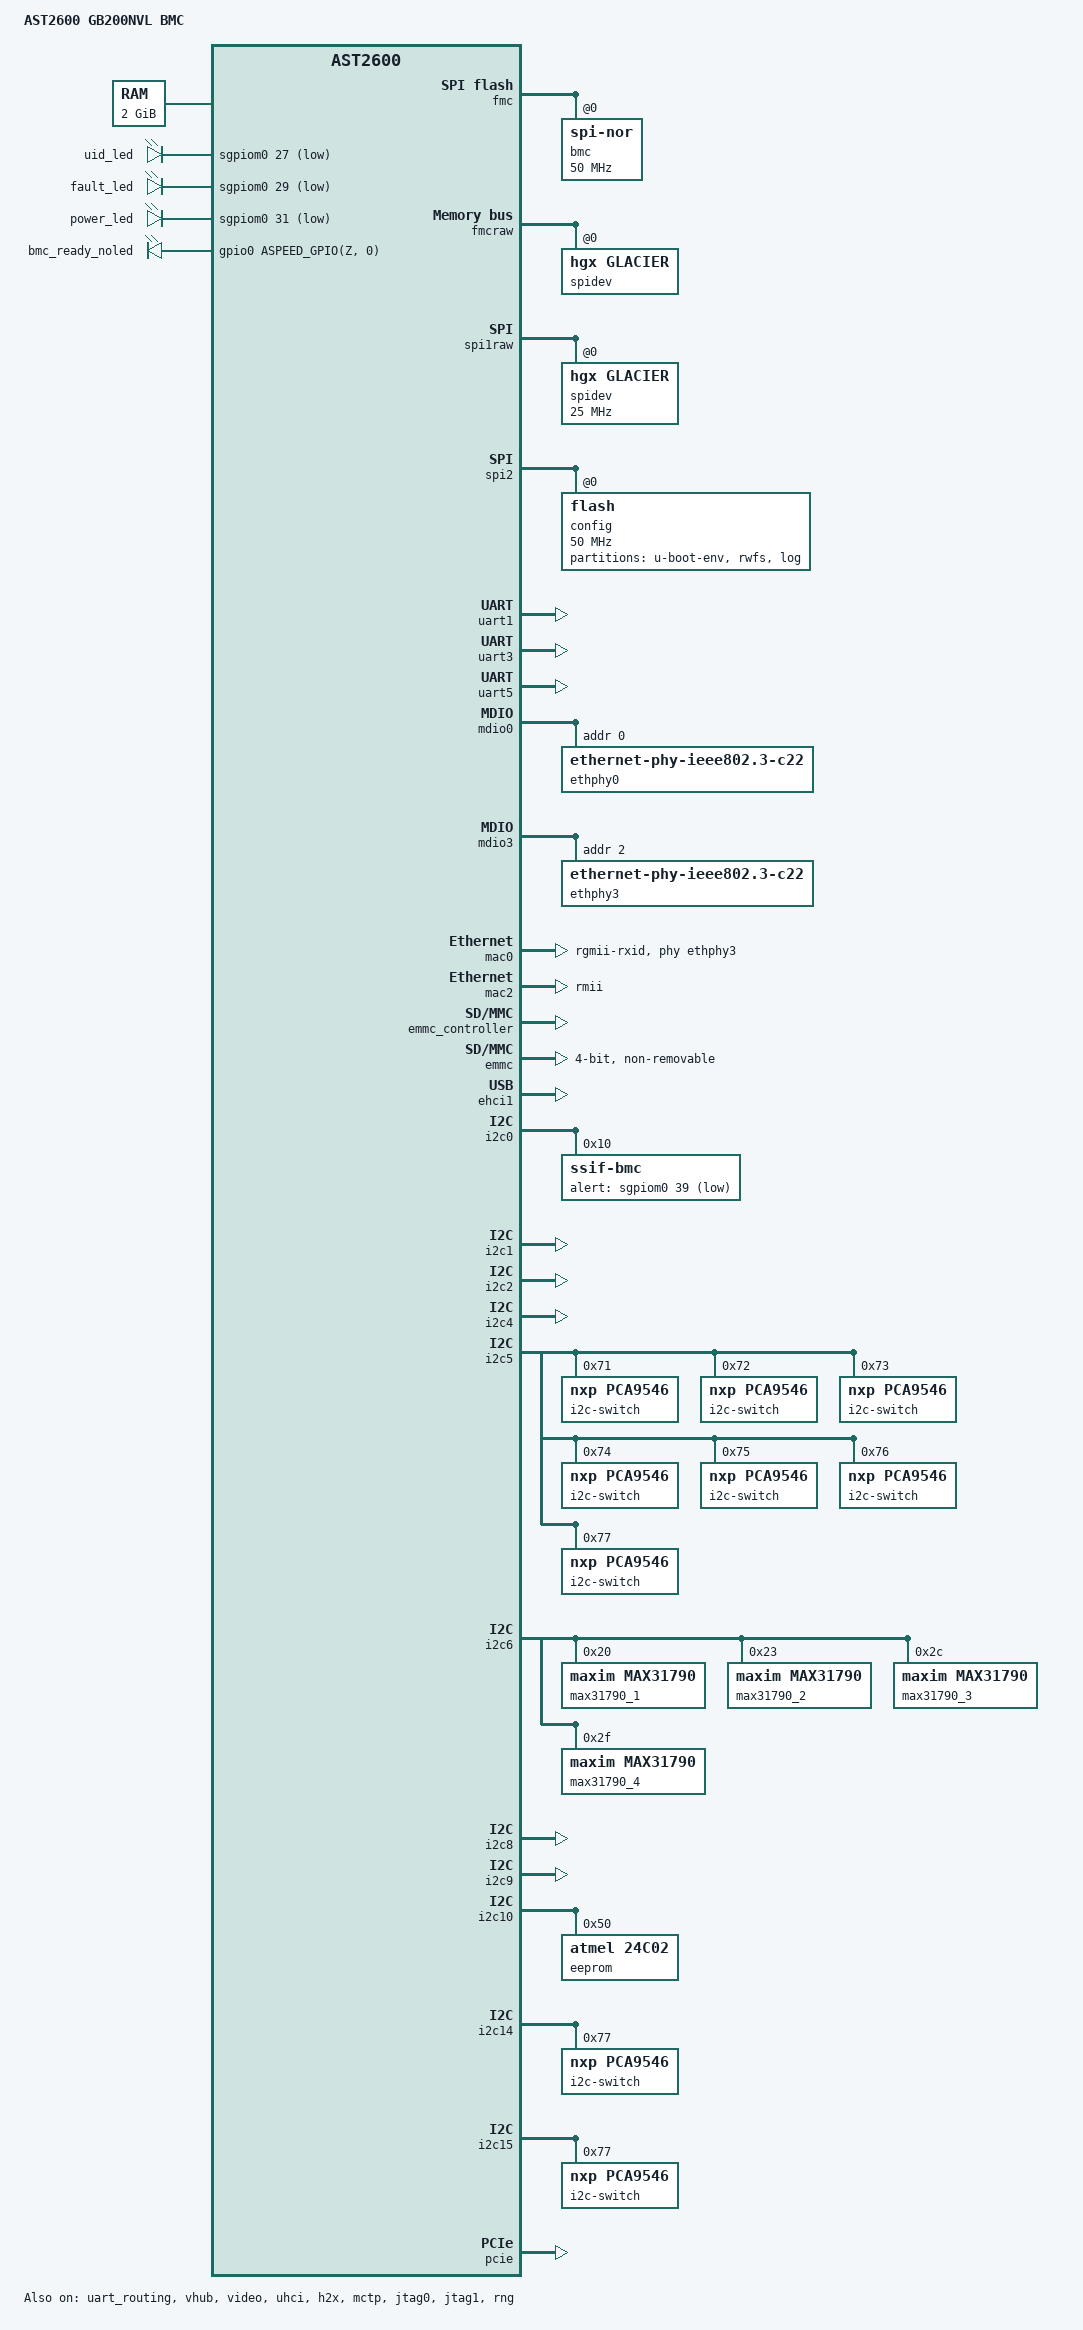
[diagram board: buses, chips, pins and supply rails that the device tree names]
// SPDX-License-Identifier: GPL-2.0+
/dts-v1/;

#include "nvidia-gb200nvl-bmc-core.dtsi"
#include <dt-bindings/leds/common.h>

/ {
    model = "AST2600 GB200NVL BMC";
    compatible = "aspeed,ast2600";

	aliases {
		serial2 = &uart3;
		serial4 = &uart5;
		i2c16   = &imux16;
		i2c17   = &imux17;
		i2c18   = &imux18;
		i2c19   = &imux19;
		i2c20   = &imux20;
		i2c21   = &imux21;
		i2c22   = &imux22;
		i2c23   = &imux23;
		i2c24   = &imux24;
		i2c25   = &imux25;
		i2c26   = &imux26;
		i2c27   = &imux27;
		i2c28   = &imux28;
		i2c29   = &imux29;
		i2c30   = &imux30;
		i2c31   = &imux31;
		i2c32   = &imux32;
		i2c33   = &imux33;
		i2c34   = &imux34;
		i2c35   = &imux35;
		i2c36   = &imux36;
		i2c37   = &imux37;
		i2c38   = &imux38;
		i2c39   = &imux39;
		i2c40	= &e1si2c0;
		i2c41	= &e1si2c1;
		i2c42	= &e1si2c2;
		i2c43	= &e1si2c3;
		i2c44	= &e1si2c4;
		i2c45	= &e1si2c5;
		i2c46	= &e1si2c6;
		i2c47	= &e1si2c7;
		i2c48	= &i2c5mux0;
		i2c49   = &m2riser;
		i2c50	= &i2c5mux2;
		i2c51	= &i2c5mux3;
	};

	chosen {
		stdout-path = &uart5;
		bootargs = "console=tty0 console=ttyS4,115200n8 earlyprintk";
	};

	memory@80000000 {
		device_type = "memory";
		reg = <0x80000000 0x80000000>;
	};

	reserved-memory {
		#address-cells = <1>;
		#size-cells = <1>;
		ranges;

		vga_memory: framebuffer@9f000000 {
			no-map;
			reg = <0x9f000000 0x01000000>; /* 16M */
		};


		ramoops@a0000000 {
			compatible = "ramoops";
			reg = <0xa0000000 0x100000>; /* 1MB */
			record-size = <0x10000>; /* 64KB */
			max-reason = <2>; /* KMSG_DUMP_OOPS */
		};

		gfx_memory: framebuffer {
			size = <0x01000000>;
			alignment = <0x01000000>;
			compatible = "shared-dma-pool";
			reusable;
		};

		video_engine_memory: jpegbuffer {
			size = <0x02000000>;	/* 32M */
			alignment = <0x01000000>;
			compatible = "shared-dma-pool";
			reusable;
		};
	};

    power-gpios{
        n2-gpios = <&gpio0 ASPEED_GPIO(N, 2) (GPIO_ACTIVE_HIGH|GPIO_PULL_UP)>;
        n3-gpios = <&gpio0 ASPEED_GPIO(N, 3) (GPIO_ACTIVE_HIGH|GPIO_PULL_UP)>;
    };

    leds {
        compatible = "gpio-leds";
        uid_led {
                gpios = <&sgpiom0 27 GPIO_ACTIVE_LOW>;
        };
        fault_led {
                gpios = <&sgpiom0 29 GPIO_ACTIVE_LOW>;
        };
        power_led {
                gpios = <&sgpiom0 31 GPIO_ACTIVE_LOW>;
        };

        // Non-LEDs:
        //   BMC_READY-O GPIO pin (not an LED) is being bound to the GPIO LED driver.
        // Notes:
        // * This is a workaround and leverages the GPIO LED driver to enable control of
        //   reset tolerance and still allow the GPIO to be controlled from user space.
        // * The standard Linux GPIO driver allows control of reset tolerance, however
        //   does not expose user space APIs for user space control of the GPIO pin.
        // * GPIO_TRANSITORY = reset tolerance is disabled
        // * Any non-leds should be added below this line.
        bmc_ready_noled {
            gpios = <&gpio0 ASPEED_GPIO(Z, 0) (GPIO_ACTIVE_HIGH|GPIO_TRANSITORY)>;
        };
    };

    buttons {
        power-btn {
            gpio = <&sgpiom0 156 GPIO_ACTIVE_LOW>;
        };
        uid-btn {
            gpio = <&sgpiom0 154 GPIO_ACTIVE_LOW>;
        };
    };
};

// Enabled Primary flash on FMC for bring up activity
&fmc {
    status = "okay";
    flash@0 {
        status = "okay";
        compatible = "jedec,spi-nor";
        label = "bmc";
        spi-max-frequency = <50000000>;
#include "aspeed/aspeed-bmc-nvidia-gh-flash-layout-64.dtsi"
    };
};

&fmcraw {
    status = "okay";
    spidev@0 {
        compatible = "hgx,glacier";
        status = "okay";
    };
};

&spi1raw {
    status = "okay";
    pinctrl-names = "default";
    pinctrl-0 = <&pinctrl_spi1_default>;
    spidev@0 {
        spi-max-frequency = <25000000>;
        compatible = "hgx,glacier";
        status = "okay";
    };
};

&spi2 {
    status = "okay";
    pinctrl-names = "default";
    pinctrl-0 = <&pinctrl_spi2_default>;

    // Data SPI is 64MB in size
    flash@0 {
        status = "okay";
        label = "config";
        spi-max-frequency = <50000000>;
        partitions {
            compatible = "fixed-partitions";
            #address-cells = <1>;
            #size-cells = <1>;

            u-boot-env@0 {
                reg = <0x0 0x40000>;            // 256KB at offset 0
                label = "u-boot-env";
            };

            rwfs@40000 {
                reg = <0x40000 0x1000000>;      // 16MB at offset 0x40000
                label = "rwfs";
            };

            log@0x1040000 {
                reg = <0x1040000 0x2800000>;    // 40MB at offset 0x1040000
                label = "log";                  // Move log to EMMC, make this unused
            };
        };
    };
};

&uart1 {
        status = "okay";        
};

&uart3 {
        //Enabling SOL
        status = "okay";
        
};

&uart5 {
    // BMC Debug Console
    status = "okay";
};

&uart_routing {
       status = "okay";
};

// MAC1 (per schematics, 1-based MAC1-MAC4) of AST2600 connected to external PHY
// This is "mac0" in zero-based DTS
&mdio0 {
    status = "okay";
    ethphy0: ethernet-phy@0 {
        compatible = "ethernet-phy-ieee802.3-c22";
        reg = <0>;
    };

};

&mdio3 {
    status = "okay";
    ethphy3: ethernet-phy@2 {
        compatible = "ethernet-phy-ieee802.3-c22";
        reg = <2>;
    };
};

&mac0 {
    status = "okay";
    pinctrl-names = "default";
    phy-mode = "rgmii-rxid";
    max-speed = <1000>;
    phy-handle = <&ethphy3>;
    pinctrl-0 = <&pinctrl_rgmii1_default>;
};

&mac2 {
    status = "okay";
    phy-mode = "rmii";
    use-ncsi;
    pinctrl-names = "default";
    pinctrl-0 = <&pinctrl_rmii3_default>;
};


// Enable emmc
&emmc_controller {
    status = "okay";
};

&emmc {
    non-removable;
    pinctrl-0 = <&pinctrl_emmcg5_default>;
    bus-width = <4>;
    max-frequency = <52000000>;
    clk-phase-mmc-hs200 = <9>, <225>;
};

/*
 * Enable USB port A as device (via the virtual hub) to host
 */
&vhub {
    status = "okay";
    pinctrl-names = "default"; 
    /* 
        Uncomment below line to enable internal EHCI controller
        Current config uses xHCI Port1
    */
    // pinctrl-0 = <&pinctrl_usb2adp_default>;
};

&video {
	status = "okay";
	memory-region = <&video_engine_memory>;
};

// USB 2.0 to HMC, on USB Port B
&ehci1 {
   status = "okay";
};

// USB 1.0
&uhci {
   status = "okay";
};

// I2C1, SSIF IPMI interface
&i2c0 {
    status = "okay";
    bus-frequency = <400000>;
	disable-master = <1>;
    ssif-bmc@10 {
        compatible = "ssif-bmc";
        alert-gpio = <&sgpiom0 39 GPIO_ACTIVE_LOW>;
        pulse_width_us = <5>;
        timeout_ms = <4995>;
        reg = <0x10>;
        };
};

// I2C2
// BMC_I2C1_FPGA - Secondary FPGA
// HMC EROT
&i2c1 {
    status = "okay";
    bus-frequency = <400000>;
    multi-master;
};

// I2C3
// BMC_I2C0_FPGA - Primary FPGA
// HMC FRU EEPROM
&i2c2 {
    status = "okay";
    bus-frequency = <400000>;
    multi-master;
};

// I2C4
&i2c3 {
    status = "disabled";
};

// I2C5
// RTC Driver
// IO Expander
&i2c4 {
    status = "okay";
    bus-frequency = <400000>;
};

// I2C6
// Module 0/1 I2C MUX x3 
&i2c5 {
    status = "okay";
    bus-frequency = <400000>;
    multi-master;

    i2c-switch@71 {
        compatible = "nxp,pca9546";
        #address-cells = <1>;
        #size-cells = <0>;
        reg = <0x71>;
        i2c-mux-idle-disconnect;

        imux16: i2c@0 {
            #address-cells = <1>;
            #size-cells = <0>;
            reg = <0>;
        };

        imux17: i2c@1 {
            #address-cells = <1>;
            #size-cells = <0>;
            reg = <1>;
        };

        imux18: i2c@2 {
            #address-cells = <1>;
            #size-cells = <0>;
            reg = <2>;
        };

        imux19: i2c@3 {
            #address-cells = <1>;
            #size-cells = <0>;
            reg = <3>;
        };
    };

    i2c-switch@72 {
        compatible = "nxp,pca9546";
        #address-cells = <1>;
        #size-cells = <0>;
        reg = <0x72>;
        i2c-mux-idle-disconnect;

        imux20: i2c@0 {
            #address-cells = <1>;
            #size-cells = <0>;
            reg = <0>;
        };

        imux21: i2c@1 {
            #address-cells = <1>;
            #size-cells = <0>;
            reg = <1>;
        };

        imux22: i2c@2 {
            #address-cells = <1>;
            #size-cells = <0>;
            reg = <2>;
        };

        imux23: i2c@3 {
            #address-cells = <1>;
            #size-cells = <0>;
            reg = <3>;
        };
    };

    i2c-switch@73 {
        compatible = "nxp,pca9546";
        #address-cells = <1>;
        #size-cells = <0>;
        reg = <0x73>;
        i2c-mux-idle-disconnect;

        imux24: i2c@0 {
            #address-cells = <1>;
            #size-cells = <0>;
            reg = <0>;
        };

        imux25: i2c@1 {
            #address-cells = <1>;
            #size-cells = <0>;
            reg = <1>;
        };

        imux26: i2c@2 {
            #address-cells = <1>;
            #size-cells = <0>;
            reg = <2>;
        };

        imux27: i2c@3 {
            #address-cells = <1>;
            #size-cells = <0>;
            reg = <3>;
        };
    };

    //A MUX for a riser with a secondary M.2 installed.
    i2c-switch@74 {
        compatible = "nxp,pca9546";
        #address-cells = <1>;
        #size-cells = <0>;
        reg = <0x74>;
        i2c-mux-idle-disconnect;

        i2c5mux0: i2c@0 {
            #address-cells = <1>;
            #size-cells = <0>;
            reg = <0>;
        };

        //Optional/secondary M.2 drive slot
        m2riser: i2c@1 {
            #address-cells = <1>;
            #size-cells = <0>;
            reg = <1>;
        };

        i2c5mux2: i2c@2 {
            #address-cells = <1>;
            #size-cells = <0>;
            reg = <2>;
        };

        i2c5mux3: i2c@3 {
            #address-cells = <1>;
            #size-cells = <0>;
            reg = <3>;
        };
    };

    i2c-switch@75 {
        compatible = "nxp,pca9546";
        #address-cells = <1>;
        #size-cells = <0>;
        reg = <0x75>;
        i2c-mux-idle-disconnect;

        imux28: i2c@0 {
            #address-cells = <1>;
            #size-cells = <0>;
            reg = <0>;
        };

        imux29: i2c@1 {
            #address-cells = <1>;
            #size-cells = <0>;
            reg = <1>;
        };

        imux30: i2c@2 {
            #address-cells = <1>;
            #size-cells = <0>;
            reg = <2>;
        };

        imux31: i2c@3 {
            #address-cells = <1>;
            #size-cells = <0>;
            reg = <3>;
        };
    };

    i2c-switch@76 {
        compatible = "nxp,pca9546";
        #address-cells = <1>;
        #size-cells = <0>;
        reg = <0x76>;
        i2c-mux-idle-disconnect;

        imux32: i2c@0 {
            #address-cells = <1>;
            #size-cells = <0>;
            reg = <0>;
        };

        imux33: i2c@1 {
            #address-cells = <1>;
            #size-cells = <0>;
            reg = <1>;
        };

        imux34: i2c@2 {
            #address-cells = <1>;
            #size-cells = <0>;
            reg = <2>;
        };

        imux35: i2c@3 {
            #address-cells = <1>;
            #size-cells = <0>;
            reg = <3>;
        };
    };

    i2c-switch@77 {
        compatible = "nxp,pca9546";
        #address-cells = <1>;
        #size-cells = <0>;
        reg = <0x77>;
        i2c-mux-idle-disconnect;

        imux36: i2c@0 {
            #address-cells = <1>;
            #size-cells = <0>;
            reg = <0>;
        };

        imux37: i2c@1 {
            #address-cells = <1>;
            #size-cells = <0>;
            reg = <1>;
        };

        imux38: i2c@2 {
            #address-cells = <1>;
            #size-cells = <0>;
            reg = <2>;
        };

        imux39: i2c@3 {
            #address-cells = <1>;
            #size-cells = <0>;
            reg = <3>;
        };
    };
};

// I2C7
// Module 0/1 Leak Sensors
// Module 0/1 Fan Controllers
&i2c6 {
    status = "okay";
    bus-frequency = <400000>;
    max31790_1 {
        compatible = "maxim,max31790";
        reg = <0x20>;
        #address-cells = <1>;
        #size-cells = <0>;
    };
    max31790_2 {
        compatible = "maxim,max31790";
        reg = <0x23>;
        #address-cells = <1>;
        #size-cells = <0>;
    };
    max31790_3 {
        compatible = "maxim,max31790";
        reg = <0x2c>;
        #address-cells = <1>;
        #size-cells = <0>;
    };
    max31790_4 {
        compatible = "maxim,max31790";
        reg = <0x2f>;
        #address-cells = <1>;
        #size-cells = <0>;
    };
};

// I2C9
// M.2
&i2c8 {
    status = "okay";
    bus-frequency = <400000>;
};

// I2C10
// HMC IO Expander
// Module 0/1 IO Expanders
&i2c9 {
    status = "okay";
    bus-frequency = <400000>;
};

// I2C11
// BMC FRU EEPROM
// BMC Temp Sensor
&i2c10 {
    status = "okay";
    bus-frequency = <400000>;
    // BMC FRU EEPROM - 256 bytes
    eeprom@50 {
        compatible = "atmel,24c02";
        reg = <0x50>;
        pagesize = <8>;
    };
};

// I2C12
&i2c11 {
    status = "disabled";
};

// I2C13
&i2c12 {
    status = "disabled";
};

// I2C14
// Module 0 UPHY3 SMBus
&i2c13 {
    status = "disabled";
};

// I2C15
// Module 1 UPHY3 SMBus
&i2c14 {
    status = "okay";
    bus-frequency = <100000>;
    multi-master;

    //E1.S drive slot 0-3
	i2c-switch@77 {
        compatible = "nxp,pca9546";
        #address-cells = <1>;
        #size-cells = <0>;
        reg = <0x77>;
        i2c-mux-idle-disconnect;

        e1si2c0: i2c@0 {
            #address-cells = <1>;
            #size-cells = <0>;
            reg = <0>;
        };

        e1si2c1: i2c@1 {
            #address-cells = <1>;
            #size-cells = <0>;
            reg = <1>;
        };

        e1si2c2: i2c@2 {
            #address-cells = <1>;
            #size-cells = <0>;
            reg = <2>;
        };

        e1si2c3: i2c@3 {
            #address-cells = <1>;
            #size-cells = <0>;
            reg = <3>;
        };
    };
};

// I2C16
&i2c15 {
    status = "okay";
    bus-frequency = <100000>;
    multi-master;

    //E1.S drive slot 4-7
	i2c-switch@77 {
        compatible = "nxp,pca9546";
        #address-cells = <1>;
        #size-cells = <0>;
        reg = <0x77>;
        i2c-mux-idle-disconnect;

        e1si2c4: i2c@0 {
            #address-cells = <1>;
            #size-cells = <0>;
            reg = <0>;
        };

        e1si2c5: i2c@1 {
            #address-cells = <1>;
            #size-cells = <0>;
            reg = <1>;
        };

        e1si2c6: i2c@2 {
            #address-cells = <1>;
            #size-cells = <0>;
            reg = <2>;
        };

        e1si2c7: i2c@3 {
            #address-cells = <1>;
            #size-cells = <0>;
            reg = <3>;
        };
    };
};

// PCIe RC
&pcie {
    status = "okay";

    interrupts = <GIC_SPI 168 IRQ_TYPE_LEVEL_HIGH>;

    pcie_intc0: legacy-interrupt-controller {
                    interrupts = <GIC_SPI 168 IRQ_TYPE_EDGE_RISING>;
    };
};

// Bridge between AHB bus and PCIe RC.
&h2x {
    status = "okay";
};

&mctp {
    status = "okay";
};

&jtag0 {
    status = "okay";
};

&jtag1 {
    status = "okay";
};

&rng {
    status = "okay";
};

